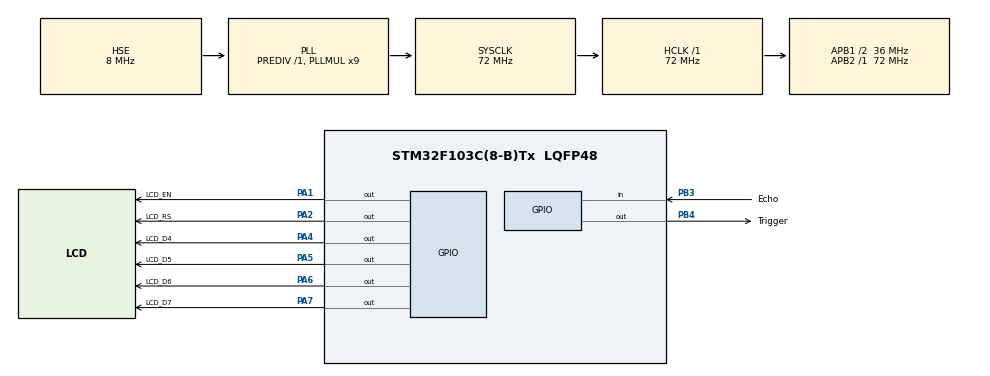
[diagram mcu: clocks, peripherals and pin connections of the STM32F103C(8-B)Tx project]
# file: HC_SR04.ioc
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Mcu.Family=STM32F1
Mcu.Name=STM32F103C(8-B)Tx
Mcu.Package=LQFP48
NVIC.PriorityGroup=NVIC_PRIORITYGROUP_4
PA1.GPIO_Label=LCD_EN
PA1.Signal=GPIO_Output
PA13.Mode=Serial_Wire
PA13.Signal=SYS_JTMS-SWDIO
PA14.Mode=Serial_Wire
PA14.Signal=SYS_JTCK-SWCLK
PA2.GPIO_Label=LCD_RS
PA2.Signal=GPIO_Output
PA4.GPIO_Label=LCD_D4
PA4.Signal=GPIO_Output
PA5.GPIO_Label=LCD_D5
PA5.Signal=GPIO_Output
PA6.GPIO_Label=LCD_D6
PA6.Signal=GPIO_Output
PA7.GPIO_Label=LCD_D7
PA7.Signal=GPIO_Output
PB3.GPIO_Label=Echo
PB3.Signal=GPIO_Input
PB4.GPIO_Label=Trigger
PB4.Signal=GPIO_Output
PD0-OSC_IN.Mode=HSE-External-Oscillator
PD0-OSC_IN.Signal=RCC_OSC_IN
PD1-OSC_OUT.Mode=HSE-External-Oscillator
PD1-OSC_OUT.Signal=RCC_OSC_OUT
ProjectManager.HeapSize=0x200
ProjectManager.StackSize=0x400
ProjectManager.TargetToolchain=MDK-ARM V5.32
RCC.AHBFreq_Value=72000000
RCC.APB1CLKDivider=RCC_HCLK_DIV2
RCC.APB1Freq_Value=36000000
RCC.APB1TimFreq_Value=72000000
RCC.APB2Freq_Value=72000000
RCC.APB2TimFreq_Value=72000000
RCC.HCLKFreq_Value=72000000
RCC.PLLMUL=RCC_PLL_MUL9
RCC.PLLSourceVirtual=RCC_PLLSOURCE_HSE
RCC.SYSCLKFreq_VALUE=72000000
RCC.SYSCLKSource=RCC_SYSCLKSOURCE_PLLCLK
RCC.USBFreq_Value=72000000
board=custom

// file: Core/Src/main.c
/* USER CODE BEGIN Header */
/**
  ******************************************************************************
  * @file           : main.c
  * @brief          : Main program body
  ******************************************************************************
  * @attention
  *
  * Copyright (c) 2023 STMicroelectronics.
  * All rights reserved.
  *
  * This software is licensed under terms that can be found in the LICENSE file
  * in the root directory of this software component.
  * If no LICENSE file comes with this software, it is provided AS-IS.
  *
  ******************************************************************************
  */
/* USER CODE END Header */
#include "main.h"

/* USER CODE BEGIN Includes */
#include "lcd16x2.h"
#include "stdio.h"
#include "dwt_delay.h"

/* USER CODE END Includes */

/* USER CODE BEGIN PD */
float distance = 0;
char line[32];
/* USER CODE END PD */

/* USER CODE BEGIN PM */
float Sensor_Read()
{
	uint32_t time=0;
	float Distance_Temp = 0;
	HAL_GPIO_WritePin(GPIOB,Trigger_Pin,GPIO_PIN_RESET);
	DWT_Delay(10);
	HAL_GPIO_WritePin(GPIOB,Trigger_Pin,GPIO_PIN_SET);
	DWT_Delay(10);
	HAL_GPIO_WritePin(GPIOB,Trigger_Pin,GPIO_PIN_RESET);
	DWT_Delay(10);
	while(!HAL_GPIO_ReadPin(GPIOB,Echo_Pin));
	while(HAL_GPIO_ReadPin(GPIOB,Echo_Pin))
	{
		time++;
		DWT_Delay(1);
	}
	Distance_Temp = (float) time / 29.1;
	HAL_Delay(50);
	return Distance_Temp;
}
/* USER CODE END PM */

void SystemClock_Config(void);
static void MX_GPIO_Init(void);

int main(void)
{

  /* MCU Configuration--------------------------------------------------------*/

  /* Reset of all peripherals, Initializes the Flash interface and the Systick. */
  HAL_Init();

  /* Configure the system clock */
  SystemClock_Config();

  /* Initialize all configured peripherals */
  MX_GPIO_Init();
  /* USER CODE BEGIN 2 */
lcd16x2_init_4bits(LCD_RS_GPIO_Port, LCD_RS_Pin, LCD_EN_Pin,
      LCD_D4_GPIO_Port, LCD_D4_Pin, LCD_D5_Pin, LCD_D6_Pin, LCD_D7_Pin);

  /* USER CODE END 2 */

  /* Infinite loop */
  while (1)
  {

    /* USER CODE BEGIN 3 */
		distance = Sensor_Read();
		HAL_Delay(200);
		sprintf(line,"%.2f cm    ",distance);
		lcd16x2_1stLine();
		lcd16x2_printf(line);
  }
  /* USER CODE END 3 */
}

void SystemClock_Config(void)
{
  RCC_OscInitTypeDef RCC_OscInitStruct = {0};
  RCC_ClkInitTypeDef RCC_ClkInitStruct = {0};

  /** Initializes the RCC Oscillators according to the specified parameters
  * in the RCC_OscInitTypeDef structure.
  */
  RCC_OscInitStruct.OscillatorType = RCC_OSCILLATORTYPE_HSE;
  RCC_OscInitStruct.HSEState = RCC_HSE_ON;
  RCC_OscInitStruct.HSEPredivValue = RCC_HSE_PREDIV_DIV1;
  RCC_OscInitStruct.HSIState = RCC_HSI_ON;
  RCC_OscInitStruct.PLL.PLLState = RCC_PLL_ON;
  RCC_OscInitStruct.PLL.PLLSource = RCC_PLLSOURCE_HSE;
  RCC_OscInitStruct.PLL.PLLMUL = RCC_PLL_MUL9;
  if (HAL_RCC_OscConfig(&RCC_OscInitStruct) != HAL_OK)
  {
    Error_Handler();
  }

  /** Initializes the CPU, AHB and APB buses clocks
  */
  RCC_ClkInitStruct.ClockType = RCC_CLOCKTYPE_HCLK|RCC_CLOCKTYPE_SYSCLK
                              |RCC_CLOCKTYPE_PCLK1|RCC_CLOCKTYPE_PCLK2;
  RCC_ClkInitStruct.SYSCLKSource = RCC_SYSCLKSOURCE_PLLCLK;
  RCC_ClkInitStruct.AHBCLKDivider = RCC_SYSCLK_DIV1;
  RCC_ClkInitStruct.APB1CLKDivider = RCC_HCLK_DIV2;
  RCC_ClkInitStruct.APB2CLKDivider = RCC_HCLK_DIV1;

  if (HAL_RCC_ClockConfig(&RCC_ClkInitStruct, FLASH_LATENCY_2) != HAL_OK)
  {
    Error_Handler();
  }
}

static void MX_GPIO_Init(void)
{
  GPIO_InitTypeDef GPIO_InitStruct = {0};

  /* GPIO Ports Clock Enable */
  __HAL_RCC_GPIOD_CLK_ENABLE();
  __HAL_RCC_GPIOA_CLK_ENABLE();
  __HAL_RCC_GPIOB_CLK_ENABLE();

  /*Configure GPIO pin Output Level */
  HAL_GPIO_WritePin(GPIOA, LCD_EN_Pin|LCD_RS_Pin|LCD_D4_Pin|LCD_D5_Pin
                          |LCD_D6_Pin|LCD_D7_Pin, GPIO_PIN_RESET);

  /*Configure GPIO pin Output Level */
  HAL_GPIO_WritePin(Trigger_GPIO_Port, Trigger_Pin, GPIO_PIN_RESET);

  /*Configure GPIO pins : LCD_EN_Pin LCD_RS_Pin LCD_D4_Pin LCD_D5_Pin
                           LCD_D6_Pin LCD_D7_Pin */
  GPIO_InitStruct.Pin = LCD_EN_Pin|LCD_RS_Pin|LCD_D4_Pin|LCD_D5_Pin
                          |LCD_D6_Pin|LCD_D7_Pin;
  GPIO_InitStruct.Mode = GPIO_MODE_OUTPUT_PP;
  GPIO_InitStruct.Pull = GPIO_NOPULL;
  GPIO_InitStruct.Speed = GPIO_SPEED_FREQ_LOW;
  HAL_GPIO_Init(GPIOA, &GPIO_InitStruct);

  /*Configure GPIO pin : Echo_Pin */
  GPIO_InitStruct.Pin = Echo_Pin;
  GPIO_InitStruct.Mode = GPIO_MODE_INPUT;
  GPIO_InitStruct.Pull = GPIO_NOPULL;
  HAL_GPIO_Init(Echo_GPIO_Port, &GPIO_InitStruct);

  /*Configure GPIO pin : Trigger_Pin */
  GPIO_InitStruct.Pin = Trigger_Pin;
  GPIO_InitStruct.Mode = GPIO_MODE_OUTPUT_PP;
  GPIO_InitStruct.Pull = GPIO_NOPULL;
  GPIO_InitStruct.Speed = GPIO_SPEED_FREQ_LOW;
  HAL_GPIO_Init(Trigger_GPIO_Port, &GPIO_InitStruct);

}

void Error_Handler(void)
{
  __disable_irq();
  while (1)
  {
  }
}
